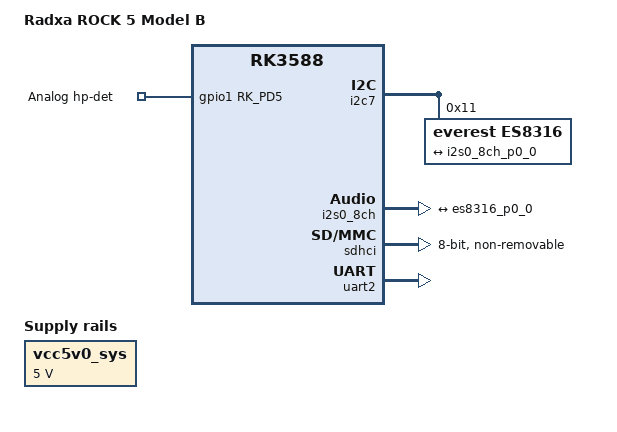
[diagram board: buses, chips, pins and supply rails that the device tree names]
// SPDX-License-Identifier: (GPL-2.0+ OR MIT)

/dts-v1/;

#include <dt-bindings/gpio/gpio.h>
#include "rk3588.dtsi"

/ {
	model = "Radxa ROCK 5 Model B";
	compatible = "radxa,rock-5b", "rockchip,rk3588";

	aliases {
		mmc0 = &sdhci;
		serial2 = &uart2;
	};

	chosen {
		stdout-path = "serial2:1500000n8";
	};

	vcc5v0_sys: vcc5v0-sys-regulator {
		compatible = "regulator-fixed";
		regulator-name = "vcc5v0_sys";
		regulator-always-on;
		regulator-boot-on;
		regulator-min-microvolt = <5000000>;
		regulator-max-microvolt = <5000000>;
	};

	sound {
		compatible = "audio-graph-card";
		label = "Analog";

		widgets = "Microphone", "Mic Jack",
			  "Headphone", "Headphones";

		routing = "MIC2", "Mic Jack",
			  "Headphones", "HPOL",
			  "Headphones", "HPOR";

		dais = <&i2s0_8ch_p0>;
		hp-det-gpio = <&gpio1 RK_PD5 GPIO_ACTIVE_HIGH>;
		pinctrl-names = "default";
		pinctrl-0 = <&hp_detect>;
	};
};

&i2c7 {
	status = "okay";

	es8316: es8316@11 {
		compatible = "everest,es8316";
		reg = <0x11>;
		clocks = <&cru I2S0_8CH_MCLKOUT>;
		clock-names = "mclk";
		#sound-dai-cells = <0>;

		port {
			es8316_p0_0: endpoint {
				remote-endpoint = <&i2s0_8ch_p0_0>;
			};
		};
	};
};

&i2s0_8ch {
	pinctrl-names = "default";
	pinctrl-0 = <&i2s0_lrck
		     &i2s0_mclk
		     &i2s0_sclk
		     &i2s0_sdi0
		     &i2s0_sdo0>;
	status = "okay";

	i2s0_8ch_p0: port {
		i2s0_8ch_p0_0: endpoint {
			dai-format = "i2s";
			mclk-fs = <256>;
			remote-endpoint = <&es8316_p0_0>;
		};
	};
};

&sdhci {
	bus-width = <8>;
	no-sdio;
	no-sd;
	non-removable;
	max-frequency = <200000000>;
	mmc-hs400-1_8v;
	mmc-hs400-enhanced-strobe;
	status = "okay";
};

&uart2 {
	pinctrl-0 = <&uart2m0_xfer>;
	status = "okay";
};

&pinctrl {
	sound {
		hp_detect: hp-detect {
			rockchip,pins = <1 RK_PD5 RK_FUNC_GPIO &pcfg_pull_none>;
		};
	};
};
